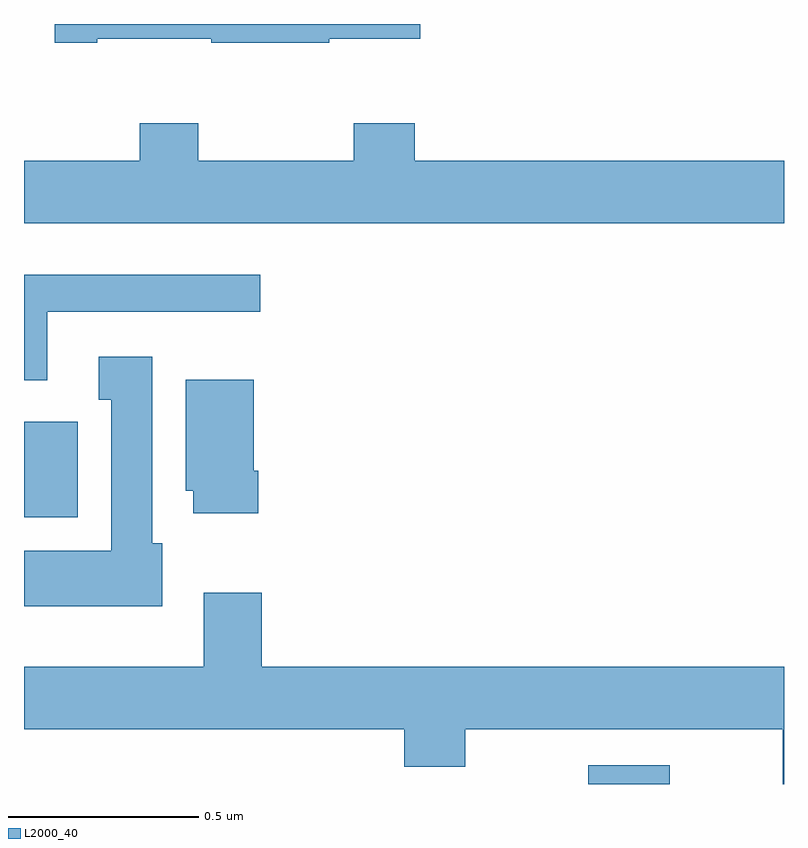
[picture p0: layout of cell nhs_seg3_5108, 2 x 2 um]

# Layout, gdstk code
import gdstk
lib = gdstk.Library(unit=1e-6, precision=1e-09)
def R(c, l, rs):  # rectangles x0, y0, x1, y1
    for r in rs: c.add(gdstk.rectangle(r[:2], r[2:], *l))
def P(c, l, *ps):  # polygons
    for p in ps: c.add(gdstk.Polygon(p, *l))
L2000_40 = (2000, 40)

nhs_seg3_5108 = lib.new_cell('nhs_seg3_5108')
R(nhs_seg3_5108, L2000_40, [(175.485,739.4,175.699,739.449), (174,740.102,174.141,740.353)])
P(nhs_seg3_5108, L2000_40, [(174.193,741.361),(174.493,741.361),(174.493,741.351),(174.803,741.351),(174.803,741.361),(175.043,741.361),(175.043,741.4),(174.081,741.4),(174.081,741.351),(174.193,741.351)],
  [(176,741.04),(175.028,741.04),(175.028,741.139),(174.868,741.139),(174.868,741.04),(174.459,741.04),(174.459,741.139),(174.304,741.139),(174.304,741.04),(174,741.04),(174,740.876),(176,740.876)],
  [(174.061,740.643),(174.622,740.643),(174.622,740.74),(174,740.74),(174,740.462),(174.061,740.462)],
  [(174.364,740.034),(174.337,740.034),(174.337,740.524),(174.197,740.524),(174.197,740.411),(174.23,740.411),(174.23,740.014),(174,740.014),(174,739.868),(174.364,739.868)],
  [(174.617,740.224),(174.604,740.224),(174.604,740.464),(174.425,740.464),(174.425,740.172),(174.446,740.172),(174.446,740.112),(174.617,740.112)],
  [(176,739.708),(174.626,739.708),(174.626,739.903),(174.473,739.903),(174.473,739.708),(174,739.708),(174,739.544),(175.001,739.544),(175.001,739.445),(175.161,739.445),(175.161,739.544),(175.997,739.544),(175.997,739.4),(176,739.4)])

lib.write_gds('nhs_seg3_5108.gds')
